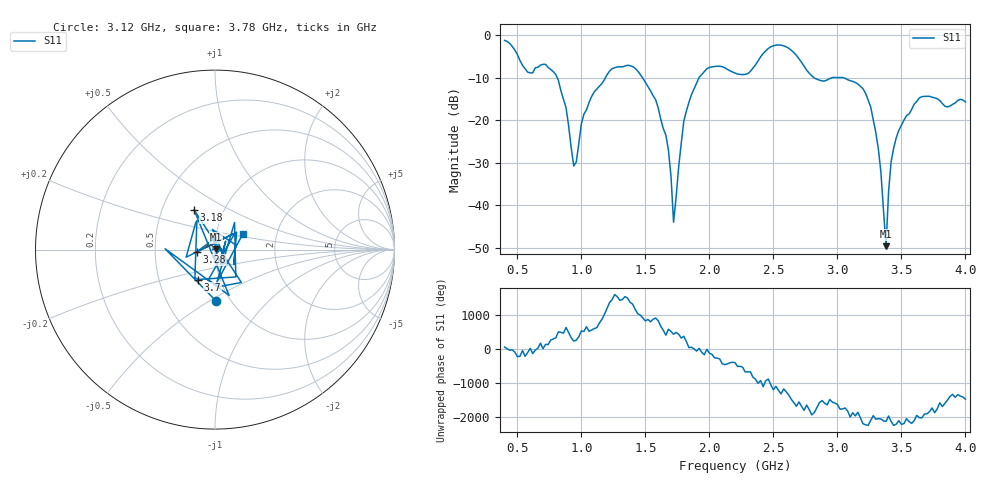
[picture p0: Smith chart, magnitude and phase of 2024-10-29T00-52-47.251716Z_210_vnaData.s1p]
!Created with skrf (http://scikit-rf.org).
# Hz S RI R 50.0
!freq ReS11 ImS11
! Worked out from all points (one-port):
!   181 points, 400 MHz to 4 GHz, reference 50 ohm
!   lowest |S11| = -49.6 dB at 3.38 GHz (marker M1), VSWR 1.01, Z = 50.3 + j0.0901 ohm
!   |S11| at or under -10 dB: 811.3 MHz to 1.188 GHz (376.3 MHz wide, 37.7 % of centre); 1.478 GHz to 1.919 GHz (440.6 MHz wide, 25.9 % of centre); 3.046 GHz to end of sweep (the widest 3 of 4)
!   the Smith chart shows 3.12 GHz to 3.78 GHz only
!   S11 on the Smith chart (normalised r, x): 3.12 GHz: 0.86, -0.54; 3.18 GHz: 0.72, +0.34; 3.28 GHz: 0.82, -0.02; 3.7 GHz: 0.79, -0.27; 3.78 GHz: 1.34, +0.25
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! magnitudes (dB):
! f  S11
! 400 MHz  -1.2
! 580 MHz  -8.7
! 780 MHz  -8.5
! 860 MHz  -15.1
! 940 MHz  -30.8
! 1.08 GHz  -14.4
! 1.3 GHz  -7.4
! 1.58 GHz  -15.2
! 1.68 GHz  -27.0
! 1.72 GHz  -44.0
! 1.76 GHz  -31.0
! 1.8 GHz  -20.2
! 1.92 GHz  -9.9
! 2.2 GHz  -8.9
! 2.5 GHz  -2.5
! 2.66 GHz  -4.1
! 2.82 GHz  -10.1
! 3.1 GHz  -10.7
! 3.12 GHz  -10.8
! 3.18 GHz  -12.0
! 3.28 GHz  -19.8
! 3.34 GHz  -32.2
! 3.38 GHz  -49.6
! 3.42 GHz  -29.7
! 3.56 GHz  -18.5
! 3.7 GHz  -14.4
! 3.78 GHz  -14.9
! 4 GHz  -15.7
